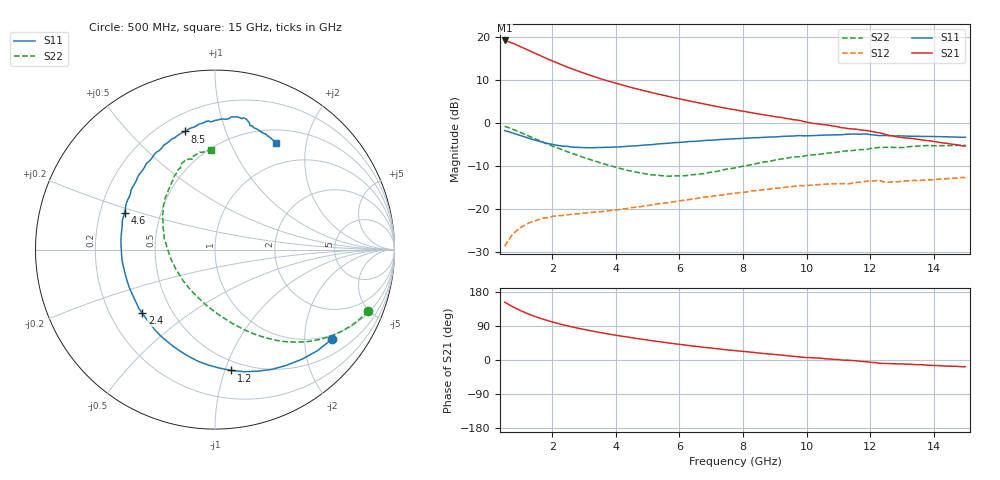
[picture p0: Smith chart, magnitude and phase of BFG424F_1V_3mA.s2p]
! Filename BFG424F_1V_3mA.prm
! Simulation_Values
! Created	by	janssen	on	nov	2006
!	Column ranking S11, S21,S12,S22 both magnitude and phase.
!	VCE	=	1	V,	IC	=	3	mA
!	Common	Emitter	S-Parameters
#	GHz	S	MA	R	50
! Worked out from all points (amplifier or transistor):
!   146 points, 500 MHz to 15 GHz, reference 50 ohm
!   highest |S21| = 19.3 dB at 500 MHz (marker M1)
!   |S21| within 3 dB of that: start of sweep to 1.462 GHz
!   unconditionally stable (mu >= 1): 3.455 GHz to end of sweep
!   at 2.9 GHz: K = 0.83, MSG = 16.5 dB, |S12| = -21.0 dB
!   at 7.8 GHz: K = 1.45, MAG = 5.7 dB, |S12| = -16.2 dB
!   at 15 GHz: K = 1.87, MAG = -1.7 dB, |S12| = -12.7 dB
!   S11 on the Smith chart (normalised r, x): 500 MHz: 0.88, -2.69; 1.2 GHz: 0.42, -1.05; 2.4 GHz: 0.34, -0.34; 4.6 GHz: 0.31, +0.18; 8.5 GHz: 0.30, +0.73; 15 GHz: 0.67, +1.51
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0.5  0.82 -37.5  9.2 152.6  0.037 69.3  0.92 -21.9
0.6  0.802 -44.6  8.941 147.7  0.042 65.6  0.894 -25.8
0.7  0.78 -51.5  8.69 143.1  0.048 62.5  0.867 -29.5
0.8  0.758 -58.2  8.408 138.6  0.053 59.4  0.839 -32.9
1  0.718 -70.7  7.791 130.4  0.061 54.0  0.781 -39.3
1.2  0.679 -82.5  7.21 123.2  0.067 49.7  0.726 -44.9
1.5  0.629 -98.8  6.423 113.5  0.074 44.4  0.649 -52.3
1.8  0.587 -113.4  5.716 105.3  0.079 40.8  0.581 -58.6
2.1  0.559 -126.6  5.126 98.1  0.083 38.4  0.526 -64.3
2.4  0.539 -138.8  4.616 91.7  0.085 36.8  0.477 -69.7
2.7  0.525 -149.9  4.189 85.8  0.088 35.9  0.435 -75.1
3  0.52 -159.9  3.819 80.6  0.09 35.6  0.398 -80.5
3.7  0.522 179.3  3.149 69.5  0.095 36.0  0.33 -94.1
4.6  0.543 158.0  2.54 57.5  0.105 37.8  0.271 -115.5
5.4  0.576 143.0  2.158 47.9  0.116 38.6  0.246 -138.2
6.5  0.615 126.2  1.757 36.1  0.132 38.8  0.253 -170.4
7.8  0.662 111.1  1.423 24.5  0.154 37.1  0.304 160.1
8.5  0.679 104.1  1.277 18.3  0.165 35.6  0.344 148.3
10.2  0.718 90.2  0.995 5.9  0.19 29.4  0.429 126.0
11.5  0.75 80.7  0.856 -1.6  0.202 26.4  0.484 115.5
12.6  0.715 72.9  0.721 -9.6  0.205 20.9  0.525 105.8
15  0.685 60.2  0.542 -17.6  0.232 15.0  0.554 92.2
